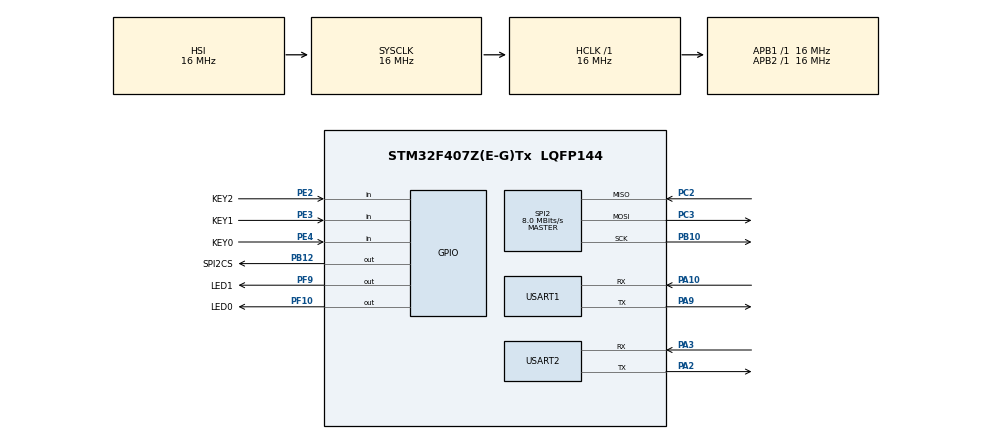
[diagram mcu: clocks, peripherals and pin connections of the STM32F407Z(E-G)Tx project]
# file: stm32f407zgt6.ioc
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FREERTOS.Tasks01=defaultTask,24,128,StartDefaultTask,Default,NULL,Dynamic,NULL,NULL
FREERTOS.configCHECK_FOR_STACK_OVERFLOW=2
FREERTOS.configTOTAL_HEAP_SIZE=102400
FREERTOS.configUSE_MALLOC_FAILED_HOOK=1
Mcu.Family=STM32F4
Mcu.Name=STM32F407Z(E-G)Tx
Mcu.Package=LQFP144
NVIC.HASH_RNG_IRQn=true\:5\:0\:false\:false\:true\:true\:true\:true\:true
NVIC.PriorityGroup=NVIC_PRIORITYGROUP_4
NVIC.RCC_IRQn=true\:5\:0\:false\:false\:true\:true\:true\:false\:true
NVIC.SPI2_IRQn=true\:5\:0\:false\:false\:true\:true\:true\:true\:true
NVIC.TIM1_UP_TIM10_IRQn=true\:15\:0\:false\:false\:true\:false\:false\:true\:true
NVIC.TimeBase=TIM1_UP_TIM10_IRQn
NVIC.TimeBaseIP=TIM1
NVIC.USART1_IRQn=true\:5\:0\:false\:false\:true\:true\:true\:true\:true
NVIC.USART2_IRQn=true\:5\:0\:false\:false\:true\:true\:true\:true\:true
PA0-WKUP.Mode=SYS_WakeUp0
PA0-WKUP.Signal=SYS_WKUP
PA10.Mode=Asynchronous
PA10.Signal=USART1_RX
PA2.Mode=Asynchronous
PA2.Signal=USART2_TX
PA3.Mode=Asynchronous
PA3.Signal=USART2_RX
PA9.Mode=Asynchronous
PA9.Signal=USART1_TX
PB10.Mode=Full_Duplex_Master
PB10.Signal=SPI2_SCK
PB12.GPIO_Label=SPI2CS
PB12.GPIO_ModeDefaultOutputPP=GPIO_MODE_OUTPUT_PP
PB12.GPIO_PuPd=GPIO_NOPULL
PB12.PinState=GPIO_PIN_SET
PB12.Signal=GPIO_Output
PC14-OSC32_IN.Mode=LSE-External-Oscillator
PC14-OSC32_IN.Signal=RCC_OSC32_IN
PC15-OSC32_OUT.Mode=LSE-External-Oscillator
PC15-OSC32_OUT.Signal=RCC_OSC32_OUT
PC2.Mode=Full_Duplex_Master
PC2.Signal=SPI2_MISO
PC3.Mode=Full_Duplex_Master
PC3.Signal=SPI2_MOSI
PE2.GPIO_Label=KEY2
PE2.GPIO_PuPd=GPIO_PULLUP
PE2.Signal=GPIO_Input
PE3.GPIO_Label=KEY1
PE3.GPIO_PuPd=GPIO_PULLUP
PE3.Signal=GPIO_Input
PE4.GPIO_Label=KEY0
PE4.GPIO_PuPd=GPIO_PULLUP
PE4.Signal=GPIO_Input
PF10.GPIO_Label=LED0
PF10.Signal=GPIO_Output
PF9.GPIO_Label=LED1
PF9.Signal=GPIO_Output
PH0-OSC_IN.Mode=HSE-External-Oscillator
PH0-OSC_IN.Signal=RCC_OSC_IN
PH1-OSC_OUT.Mode=HSE-External-Oscillator
PH1-OSC_OUT.Signal=RCC_OSC_OUT
ProjectManager.HeapSize=0x200
ProjectManager.StackSize=0x400
ProjectManager.TargetToolchain=Makefile
RCC.AHBFreq_Value=16000000
RCC.APB1Freq_Value=16000000
RCC.APB2Freq_Value=16000000
RCC.CortexFreq_Value=16000000
RCC.HSE_VALUE=8000000
RCC.HSI_VALUE=16000000
RCC.SYSCLKFreq_VALUE=16000000
RCC.VCOOutputFreq_Value=192000000
SPI2.CalculateBaudRate=8.0 MBits/s
SPI2.Direction=SPI_DIRECTION_2LINES
SPI2.Mode=SPI_MODE_MASTER
SPI2.VirtualType=VM_MASTER
USART1.VirtualMode=VM_ASYNC
USART2.VirtualMode=VM_ASYNC
VP_CRC_VS_CRC.Mode=CRC_Activate
VP_FREERTOS_VS_CMSIS_V2.Mode=CMSIS_V2
VP_RNG_VS_RNG.Mode=RNG_Activate
VP_SYS_VS_tim1.Mode=TIM1
board=custom

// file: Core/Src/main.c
/* USER CODE BEGIN Header */
/**
  ******************************************************************************
  * @file           : main.c
  * @brief          : Main program body
  ******************************************************************************
  * @attention
  *
  * Copyright (c) 2022 STMicroelectronics.
  * All rights reserved.
  *
  * This software is licensed under terms that can be found in the LICENSE file
  * in the root directory of this software component.
  * If no LICENSE file comes with this software, it is provided AS-IS.
  *
  ******************************************************************************
  */
/* USER CODE END Header */
#include "main.h"
#include "cmsis_os.h"
#include "crc.h"
#include "rng.h"
#include "spi.h"
#include "usart.h"
#include "gpio.h"

/* USER CODE BEGIN Includes */
#include "nr_micro_shell.h"
#include <cm_backtrace.h>
/* USER CODE END Includes */

/* USER CODE BEGIN PTD */
#define HARDWARE_VERSION               "V1.0.0"
#define SOFTWARE_VERSION               "V0.1.0"
/* USER CODE END PTD */

void SystemClock_Config(void);
void MX_FREERTOS_Init(void);

int main(void)
{

  /* MCU Configuration--------------------------------------------------------*/

  /* Reset of all peripherals, Initializes the Flash interface and the Systick. */
  HAL_Init();

  /* Configure the system clock */
  SystemClock_Config();

  /* Initialize all configured peripherals */
  MX_GPIO_Init();
  MX_CRC_Init();
  MX_RNG_Init();
  MX_USART1_UART_Init();
  MX_USART2_UART_Init();
  MX_SPI2_Init();
  /* USER CODE BEGIN 2 */
  shell_init();
  cm_backtrace_init("CmBacktrace", HARDWARE_VERSION, SOFTWARE_VERSION);
  /* USER CODE END 2 */

  /* Init scheduler */
  osKernelInitialize();

  /* Call init function for freertos objects (in freertos.c) */
  MX_FREERTOS_Init();

  /* Start scheduler */
  osKernelStart();

  /* We should never get here as control is now taken by the scheduler */
  /* Infinite loop */
  while (1)
  {

  }
}

void SystemClock_Config(void)
{
  RCC_OscInitTypeDef RCC_OscInitStruct = {0};
  RCC_ClkInitTypeDef RCC_ClkInitStruct = {0};

  /** Configure the main internal regulator output voltage
  */
  __HAL_RCC_PWR_CLK_ENABLE();
  __HAL_PWR_VOLTAGESCALING_CONFIG(PWR_REGULATOR_VOLTAGE_SCALE1);

  /** Initializes the RCC Oscillators according to the specified parameters
  * in the RCC_OscInitTypeDef structure.
  */
  RCC_OscInitStruct.OscillatorType = RCC_OSCILLATORTYPE_HSI;
  RCC_OscInitStruct.HSIState = RCC_HSI_ON;
  RCC_OscInitStruct.HSICalibrationValue = RCC_HSICALIBRATION_DEFAULT;
  RCC_OscInitStruct.PLL.PLLState = RCC_PLL_ON;
  RCC_OscInitStruct.PLL.PLLSource = RCC_PLLSOURCE_HSI;
  RCC_OscInitStruct.PLL.PLLM = 16;
  RCC_OscInitStruct.PLL.PLLN = 192;
  RCC_OscInitStruct.PLL.PLLP = RCC_PLLP_DIV2;
  RCC_OscInitStruct.PLL.PLLQ = 4;
  if (HAL_RCC_OscConfig(&RCC_OscInitStruct) != HAL_OK)
  {
    Error_Handler();
  }

  /** Initializes the CPU, AHB and APB buses clocks
  */
  RCC_ClkInitStruct.ClockType = RCC_CLOCKTYPE_HCLK|RCC_CLOCKTYPE_SYSCLK
                              |RCC_CLOCKTYPE_PCLK1|RCC_CLOCKTYPE_PCLK2;
  RCC_ClkInitStruct.SYSCLKSource = RCC_SYSCLKSOURCE_HSI;
  RCC_ClkInitStruct.AHBCLKDivider = RCC_SYSCLK_DIV1;
  RCC_ClkInitStruct.APB1CLKDivider = RCC_HCLK_DIV1;
  RCC_ClkInitStruct.APB2CLKDivider = RCC_HCLK_DIV1;

  if (HAL_RCC_ClockConfig(&RCC_ClkInitStruct, FLASH_LATENCY_0) != HAL_OK)
  {
    Error_Handler();
  }
}

void HAL_TIM_PeriodElapsedCallback(TIM_HandleTypeDef *htim)
{
  if (htim->Instance == TIM1) {
    HAL_IncTick();
  }
}

void Error_Handler(void)
{
  __disable_irq();
  while (1)
  {
  }
}

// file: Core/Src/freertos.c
/* USER CODE BEGIN Header */
/**
  ******************************************************************************
  * File Name          : freertos.c
  * Description        : Code for freertos applications
  ******************************************************************************
  * @attention
  *
  * Copyright (c) 2022 STMicroelectronics.
  * All rights reserved.
  *
  * This software is licensed under terms that can be found in the LICENSE file
  * in the root directory of this software component.
  * If no LICENSE file comes with this software, it is provided AS-IS.
  *
  ******************************************************************************
  */
/* USER CODE END Header */

#include "FreeRTOS.h"
#include "task.h"
#include "main.h"
#include "cmsis_os.h"

/* USER CODE BEGIN Includes */
#include <stdio.h>

#include "usart.h"
#include "nr_micro_shell.h"
#include "wifi.h"
#include "spi.h"
#include "gpio.h"

/* USER CODE END Includes */

/* USER CODE BEGIN Variables */
TaskHandle_t uart1_task = NULL;
uint8_t uart1_rx = 0;
uint8_t uart2_rx = 0;

/* USER CODE END Variables */
/* Definitions for defaultTask */
osThreadId_t defaultTaskHandle;
const osThreadAttr_t defaultTask_attributes = {
  .name = "defaultTask",
  .stack_size = 128 * 4,
  .priority = (osPriority_t) osPriorityNormal,
};

/* USER CODE BEGIN FunctionPrototypes */
static void uart1_task_entry(void *arg);
/* USER CODE END FunctionPrototypes */

void StartDefaultTask(void *argument);

void MX_FREERTOS_Init(void); /* (MISRA C 2004 rule 8.1) */

/* Hook prototypes */
void vApplicationStackOverflowHook(xTaskHandle xTask, signed char *pcTaskName);
void vApplicationMallocFailedHook(void);

/* USER CODE BEGIN 4 */
void vApplicationStackOverflowHook(xTaskHandle xTask, signed char *pcTaskName)
{
   /* Run time stack overflow checking is performed if
   configCHECK_FOR_STACK_OVERFLOW is defined to 1 or 2. This hook function is
   called if a stack overflow is detected. */
}
/* USER CODE END 4 */

/* USER CODE BEGIN 5 */
void vApplicationMallocFailedHook(void)
{
   /* vApplicationMallocFailedHook() will only be called if
   configUSE_MALLOC_FAILED_HOOK is set to 1 in FreeRTOSConfig.h. It is a hook
   function that will get called if a call to pvPortMalloc() fails.
   pvPortMalloc() is called internally by the kernel whenever a task, queue,
   timer or semaphore is created. It is also called by various parts of the
   demo application. If heap_1.c or heap_2.c are used, then the size of the
   heap available to pvPortMalloc() is defined by configTOTAL_HEAP_SIZE in
   FreeRTOSConfig.h, and the xPortGetFreeHeapSize() API function can be used
   to query the size of free heap space that remains (although it does not
   provide information on how the remaining heap might be fragmented). */
}
/* USER CODE END 5 */

void MX_FREERTOS_Init(void) {

  /* Create the thread(s) */
  /* creation of defaultTask */
  defaultTaskHandle = osThreadNew(StartDefaultTask, NULL, &defaultTask_attributes);

  /* USER CODE BEGIN RTOS_THREADS */
  /* add threads, ... */
  if(xTaskCreate(uart1_task_entry,
  "uat1", 8*1024, NULL,
  (osPriority_t) osPriorityNormal, &uart1_task) != 0)
  {

  }
  /* USER CODE END RTOS_THREADS */

}

void StartDefaultTask(void *argument)
{
  /* USER CODE BEGIN StartDefaultTask */
  /* Infinite loop */

  for (;;)
  {

    osDelay(200);
     break;

  }
  osThreadExit();
  /* USER CODE END StartDefaultTask */
}

/* USER CODE BEGIN Application */
uint8_t send_buf[100];
uint8_t recv_buf[100];
void dump_hex(void *buf, uint32_t size, uint32_t number);

static void uart1_task_entry(void *arg)
{
  wifi_protocol_init();
  HAL_UART_Receive_IT(&huart1, &uart1_rx, 1);
  HAL_UART_Receive_IT(&huart2, &uart2_rx, 1);
  int ret = 0;
  int slave_data_len = 0;
  unsigned int cnt= 0;
  while (1)
  {

    wifi_uart_service();
    for (size_t i = 0; i < 100; i++)
    {
      send_buf[i] = i+cnt;

    }
    cnt++;

    while (HAL_SPI_GetState(&hspi2) != HAL_SPI_STATE_READY)
    {
      osDelay(5);
    }
    send_buf[0] = 0x51;
    send_buf[1] = 0x00;
    HAL_GPIO_WritePin(SPI2CS_GPIO_Port, SPI2CS_Pin, GPIO_PIN_RESET);
    ret = HAL_SPI_Transmit(&hspi2, (uint8_t *)send_buf, 10, 0xFFFF);
    HAL_GPIO_WritePin(SPI2CS_GPIO_Port, SPI2CS_Pin, GPIO_PIN_SET);
    printf("send_buf[%d]:\r\n", ret);
    dump_hex(send_buf+2, 8, 8);

    // do
    // {
    //   while (HAL_SPI_GetState(&hspi2) != HAL_SPI_STATE_READY)
    //   {
    //     osDelay(5);
    //   }
    //   send_buf[0] = 0xaa;
    //   send_buf[1] = 0x00;
    //   HAL_GPIO_WritePin(SPI2CS_GPIO_Port, SPI2CS_Pin, GPIO_PIN_RESET);
    //   ret = HAL_SPI_Transmit(&hspi2, (uint8_t *)send_buf, 2, 0xFFFF);

    //   HAL_SPI_Receive(&hspi2, (uint8_t *)&slave_data_len, sizeof(slave_data_len), 0xFFFF);
    //   HAL_GPIO_WritePin(SPI2CS_GPIO_Port, SPI2CS_Pin, GPIO_PIN_SET);
    //   printf("recv_buf[%d]:\r\n", ret);
    //   dump_hex(&slave_data_len, sizeof(slave_data_len), 8);
    //   // 转换字节序 32 位
    //   slave_data_len = ((slave_data_len & 0x000000FF) << 24) | ((slave_data_len & 0x0000FF00) << 8) | ((slave_data_len & 0x00FF0000) >> 8) | ((slave_data_len & 0xFF000000) >> 24);
    //   printf("slave_data_len[%d]\r\n", slave_data_len);
    // } while (slave_data_len <= 0);

    slave_data_len = 8;
    if (slave_data_len > 0)
    {
      while (HAL_SPI_GetState(&hspi2) != HAL_SPI_STATE_READY)
      {
        osDelay(5);
      }
      send_buf[0] = 0x0b;
      send_buf[1] = 0x00;
      HAL_GPIO_WritePin(SPI2CS_GPIO_Port, SPI2CS_Pin, GPIO_PIN_RESET);
      ret = HAL_SPI_Transmit(&hspi2, (uint8_t *)send_buf, 2, 0xFFFF);
      HAL_SPI_Receive(&hspi2, (uint8_t *)recv_buf, slave_data_len, 0xFFFF);
      HAL_GPIO_WritePin(SPI2CS_GPIO_Port, SPI2CS_Pin, GPIO_PIN_SET);
      printf("recv_buf[%d]:\r\n", ret);
      dump_hex(recv_buf, slave_data_len, 8);
    }

    osDelay(1000);
  }
  uart1_task = NULL;
  vTaskDelete(NULL);
}

int _write(int fd, char *ptr, int len)
{
  HAL_UART_Transmit(&huart1, (uint8_t*)ptr, len, 0xFFFF);
  return len;
}

int _write2(int fd, char *ptr, int len)
{
  HAL_UART_Transmit(&huart2, (uint8_t*)ptr, len, 0xFFFF);
  return len;
}

void HAL_UART_RxCpltCallback(UART_HandleTypeDef *huart)
{

  if (huart->Instance == USART1)
  {

    shell(uart1_rx);
    HAL_UART_Receive_IT(&huart1, &uart1_rx, 1);
  }
  else if (huart->Instance == USART2)
  {
    uart_receive_input(uart2_rx);
    HAL_UART_Receive_IT(&huart2, &uart2_rx, 1);
  }
}

/* USER CODE END Application */
